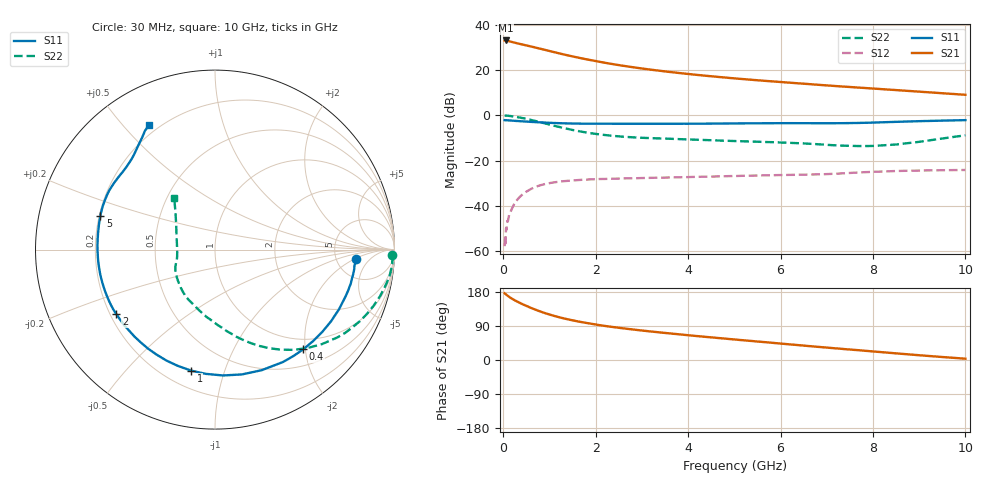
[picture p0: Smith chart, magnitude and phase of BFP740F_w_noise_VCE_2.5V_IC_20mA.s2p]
! (c) 2012  Infineon Technologies AG, Munich
! Infineon Technologies  Discrete & RF Semiconductors
! BFP740F
! VCE =  2.5 V,  IC =  20 mA
! Common Emitter S-Parameters:  Oct 2012
# GHz  S  MA  R  50
!  f  S11  S21  S12  S22
! GHz  MAG  ANG  MAG  ANG  MAG  ANG  MAG  ANG
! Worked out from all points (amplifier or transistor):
!   99 points, 30 MHz to 10 GHz, reference 50 ohm
!   highest |S21| = 33.1 dB at 50 MHz (marker M1)
!   |S21| within 3 dB of that: start of sweep to 669.8 MHz
!   unconditionally stable (mu >= 1): 5.877 GHz to end of sweep
!   at 350 MHz: K = 0.13, MSG = 33.9 dB, |S12| = -36.1 dB
!   at 3.5 GHz: K = 0.68, MSG = 23.4 dB, |S12| = -27.4 dB
!   at 10 GHz: K = 1.21, MAG = 13.8 dB, |S12| = -24.1 dB
!   lowest NFmin = 0.64 dB at 450 MHz
!   S11 on the Smith chart (normalised r, x): 30 MHz: 7.77, -2.18; 400 MHz: 0.79, -1.96; 1 GHz: 0.30, -0.78; 2 GHz: 0.22, -0.29; 5 GHz: 0.20, +0.14; 10 GHz: 0.16, +0.59
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0.03  0.787 -3.9  45.13 176.1  0.0013 86.0  0.9887 -1.9
0.05  0.7819 -6.6  45.16 174.2  0.0015 51.2  0.9898 -3.9
0.11  0.7793 -14.4  43.84 168.3  0.0051 82.8  0.9823 -8.9
0.15  0.773 -19.5  42.86 164.8  0.0071 79.6  0.9703 -12.1
0.2  0.7669 -25.6  41.5 161.0  0.0093 78.2  0.9549 -15.9
0.3  0.7536 -37.3  39.13 154.3  0.0136 72.1  0.9196 -22.9
0.4  0.7421 -48.5  37.07 148.3  0.0174 66.8  0.8796 -29.5
0.6  0.7204 -68.9  33.28 137.5  0.0238 57.4  0.7956 -41.4
0.7  0.7115 -77.8  31.42 132.7  0.0265 53.5  0.7525 -46.8
0.8  0.7027 -86.4  29.69 128.1  0.0287 49.7  0.7098 -51.9
1  0.6872 -101.2  26.44 120.1  0.032 43.6  0.6295 -60.9
1.3  0.6694 -119.2  22.32 110.1  0.0353 36.6  0.5287 -72.5
1.5  0.6621 -128.7  20.06 104.7  0.0367 33.3  0.4774 -79.0
1.7  0.658 -136.8  18.17 99.9  0.0379 30.8  0.4365 -85.0
2  0.6569 -146.7  15.85 93.7  0.0392 27.8  0.3911 -93.7
2.6  0.6544 -161.5  12.45 83.5  0.0406 24.4  0.3391 -107.8
3.4  0.6539 -175.3  9.64 72.6  0.0422 22.2  0.3101 -120.7
5  0.6654 163.8  6.58 54.2  0.0459 21.1  0.272 -138.5
5.1  0.6672 162.7  6.45 53.1  0.0462 21.1  0.2702 -139.7
6.7  0.6728 144.8  4.838 35.9  0.0497 21.1  0.2348 -158.9
8.5  0.7213 126.3  3.625 17.5  0.0593 19.2  0.2279 160.1
10  0.7865 117.8  2.852 3.4  0.0625 14.4  0.3645 128.5
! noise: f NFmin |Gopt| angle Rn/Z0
0.45  0.64  0.06  8  1.06
0.9  0.67  0.07  22  0.67
1.5  0.72  0.07  40  0.48
1.9  0.75  0.07  56  0.4
2.4  0.8  0.07  74  0.41
3.5  0.9  0.06  94  0.37
5.5  1.08  0.09  -158  0.31
10  1.47  0.39  -107  0.12
